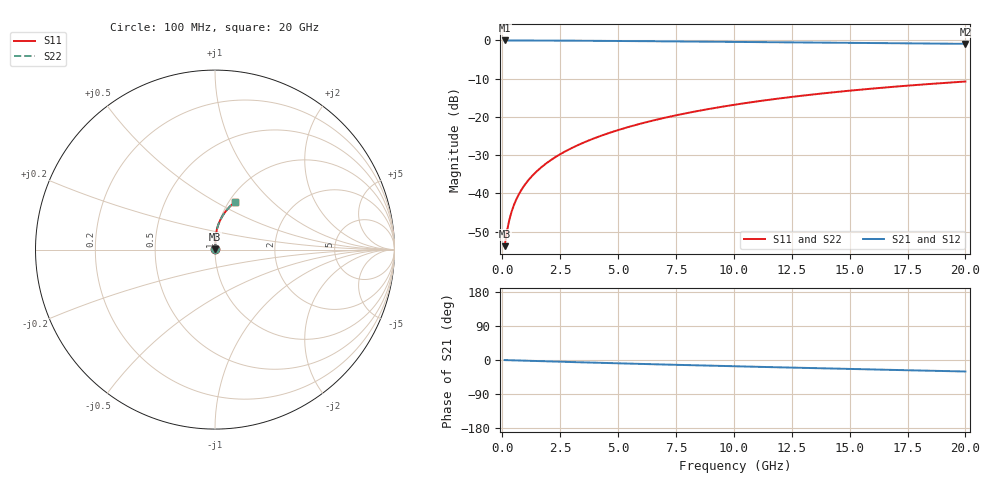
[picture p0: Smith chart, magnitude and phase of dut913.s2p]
! Touchstone file exported from HFSS 2024.1.0
!  File:  C:/UserFiles/LocalFiles/RDL_TSV_Batchsim/temp_RDL_bottom_913_1779940569.aedt
!  Generated:  11:58:29 AM May 28, 2026
!  Design:  RDL_bottom
!  Project:  temp_RDL_bottom_913_1779940569
!  Setup:  Setup1
!  Solution:  Sweep
! Variables:
!  dtsv = 10.80580581um
!  hbump = 3um
!  htsv = 63.31um
!  ldown = 422.93um
!  lrdl = 100um
!  p = 40
!  p1 = 52.16um
!  rhole = 1um
!  t = 450um
!  tdown = 4.93um
!  trdl = 3.915915916um
!  wdown = 23.1um
!  wrdl = 20um
# GHz S MA R 50.000000
! Terminal data exported
! Port[1] = RDL1_T1
! Port[2] = RDL1_T2
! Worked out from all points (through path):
!   200 points, 100 MHz to 20 GHz, reference 50 ohm
!   highest |S21| = -0.01 dB at 100 MHz (marker M1); lowest = -0.9 dB at 20 GHz (marker M2)
!   group delay of S21, straight-line fit = 4.17 ps
!   lowest |S11| = -53.8 dB at 100 MHz (marker M3), VSWR 1.00, Z = 50.1 + j0.141 ohm
!   |S11| at or under -10 dB: start of sweep to end of sweep
!   |S22| runs from -53.8 to -10.7 dB; largest |S21 - S12| = 3.4e-15
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0.1  0.002045 43.6  0.9985 -0.2  0.9985 -0.2  0.002045 43.6
! Gamma 0 0 0 0
! Port Impedance 50 0 50 0
0.2  0.003195 61.2  0.9984 -0.4  0.9984 -0.4  0.003195 61.2
0.3  0.004466 68.8  0.9983 -0.6  0.9983 -0.6  0.004466 68.8
0.4  0.005754 72.8  0.9981 -0.7  0.9981 -0.7  0.005753 72.8
0.5  0.007033 75.3  0.998 -0.9  0.998 -0.9  0.007032 75.3
0.7  0.009558 78.4  0.9978 -1.3  0.9978 -1.3  0.009558 78.4
0.8  0.01081 79.5  0.9976 -1.5  0.9976 -1.5  0.01081 79.5
1  0.01331 81.2  0.9973 -1.8  0.9973 -1.8  0.01331 81.2
1.4  0.01834 83.5  0.9966 -2.6  0.9966 -2.6  0.01834 83.4
1.7  0.02216 84.6  0.996 -3.1  0.996 -3.1  0.02215 84.6
2  0.02601 85.4  0.9952 -3.6  0.9952 -3.6  0.02601 85.4
2.7  0.0352 86.7  0.993 -4.9  0.993 -4.9  0.0352 86.6
3.5  0.04602 87.3  0.9899 -6.3  0.9899 -6.3  0.04602 87.3
4.2  0.05579 87.5  0.9868 -7.4  0.9868 -7.4  0.05578 87.5
5  0.06727 87.3  0.983 -8.8  0.983 -8.8  0.06726 87.3
6.8  0.09415 86.1  0.9737 -11.6  0.9737 -11.6  0.09413 86.1
8.4  0.1188 84.3  0.9651 -14.1  0.9651 -14.1  0.1188 84.3
10.1  0.1454 82.0  0.9559 -16.6  0.9559 -16.6  0.1453 82.0
11.7  0.1703 79.6  0.9473 -19.0  0.9473 -19.0  0.1702 79.6
13.4  0.1963 77.0  0.9381 -21.4  0.9381 -21.4  0.1962 77.0
16.7  0.2449 71.9  0.9201 -25.9  0.9201 -25.9  0.2448 71.9
20  0.2902 67.0  0.9018 -30.4  0.9018 -30.4  0.2901 66.9
